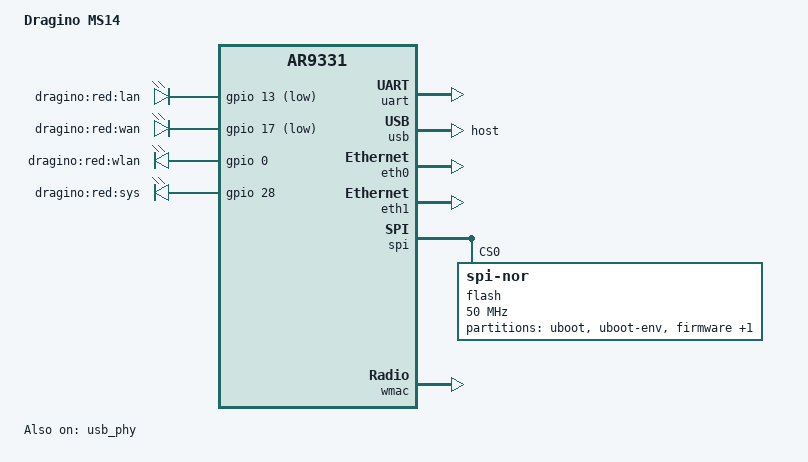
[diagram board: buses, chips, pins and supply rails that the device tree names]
// SPDX-License-Identifier: GPL-2.0-or-later OR MIT
/dts-v1/;

#include <dt-bindings/gpio/gpio.h>
#include <dt-bindings/input/input.h>

#include "ar9331.dtsi"

/ {
	model = "Dragino MS14";
	compatible = "dragino,ms14", "qca,ar9331";

	/* label serial is at hexdump -v -e '1/1 "%c"' -s $((0x904)) -n 11 /dev/mtd6 (art partition) */

	aliases {
		led-boot = &led_sys;
		led-failsafe = &led_sys;
		led-upgrade = &led_sys;
		serial0 = &uart;
	};

	/*
	 * The physical switch on board is nominally connected to 
	 * GPIO11, "jumpstart" but has no pullup from the factory
	 * and consequently doesn't actually work.
	 * See ms14_schematic_v2.2pdf
	 * Swapping R7 and R215 will "fix" it.
	keys {
		compatible = "gpio-keys";
		jumpstart {
			linux,code = <KEY_WPS_BUTTON>;
			gpios = <&gpio 11 GPIO_ACTIVE_LOW>;
		};
	};
	*/


	leds {
		compatible = "gpio-leds";
		pinctrl-names = "default";
		pinctrl-0 = <&switch_led_disable_pins>;

		lan {
			label = "dragino:red:lan";
			gpios = <&gpio 13 GPIO_ACTIVE_LOW>;
		};

		wan {
			label = "dragino:red:wan";
			gpios = <&gpio 17 GPIO_ACTIVE_LOW>;
		};

		wlan {
			label = "dragino:red:wlan";
			gpios = <&gpio 0 GPIO_ACTIVE_HIGH>;
			linux,default-trigger = "phy0tpt";
		};

		led_sys: sys {
			label = "dragino:red:sys";
			gpios = <&gpio 28 GPIO_ACTIVE_HIGH>;
		};

	};
};

&uart {
	status = "okay";
};

&usb {
	dr_mode = "host";
	status = "okay";
};

&usb_phy {
	status = "okay";
};

&eth0 {
	status = "okay";
	mtd-mac-address = <&art 0x0>;
};

&eth1 {
	status = "okay";
	mtd-mac-address = <&art 0x6>;
};

&spi {
	num-chipselects = <1>;
	status = "okay";

	flash@0 {
		compatible = "jedec,spi-nor";
		spi-max-frequency = <50000000>;
		reg = <0>;

		partitions {
			compatible = "fixed-partitions";
			#address-cells = <1>;
			#size-cells = <1>;

			uboot {
				reg = <0x0 0x30000>;
				read-only;
			};

			uboot-env {
				reg = <0x30000 0x10000>;
			};

			firmware {
				compatible = "denx,uimage";
				reg = <0x40000 0xfb0000>;
			};

			art: art {
				reg = <0xff0000 0x10000>;
				read-only;
			};
		};
	};
};

&wmac {
	status = "okay";
	mtd-cal-data = <&art 0x1000>;
	mtd-mac-address = <&art 0x1002>;
};
